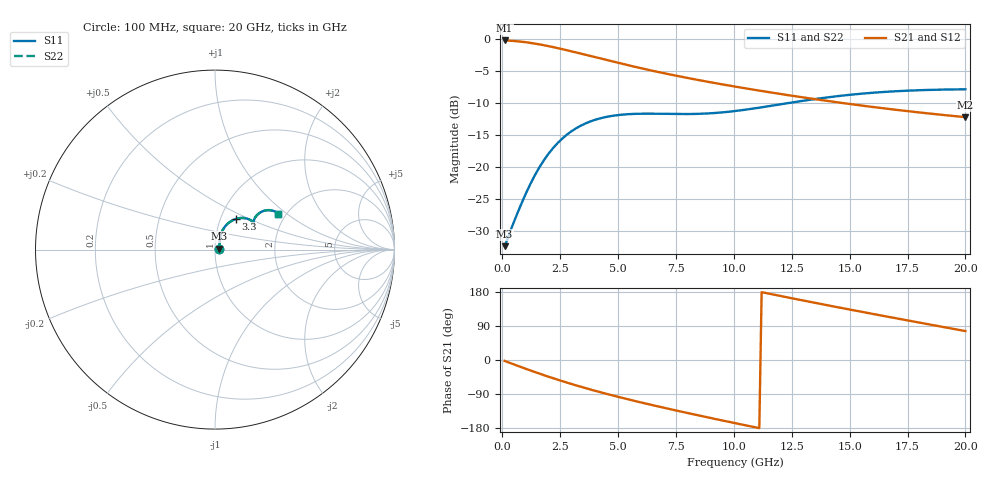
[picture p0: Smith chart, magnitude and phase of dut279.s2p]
! Touchstone file exported from HFSS 2023.1.0
!  File:  D:/Users/fzz/RDL_TSV/temp_RDL_TSV_279_1778762675.aedt
!  Generated:  8:58:04 %x4E0B%x5348  5%x6708 14, 2026
!  Design:  RDL_TSV
!  Project:  temp_RDL_TSV_279_1778762675
!  Setup:  Setup1
!  Solution:  Sweep
! Variables:
!  dtsv = 10.44um
!  hbump = 3um
!  htsv = 81.97um
!  ldown = 575.8um
!  lrdl = 609.56um
!  p = 40
!  p1 = 44.39um
!  rhole = 10um
!  subl = 4165.64um
!  t = 450um
!  tdown = 4.31um
!  trdl = 4.51um
!  viad = 10um
!  wdown = 22.05um
!  wrdl = 11.64um
!  xbump = 18um
# GHz S MA R 50.000000
! Terminal data exported
! Port[1] = TM1_1_T1
! Port[2] = TM1_4_T1
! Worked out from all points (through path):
!   200 points, 100 MHz to 20 GHz, reference 50 ohm
!   highest |S21| = -0.21 dB at 100 MHz (marker M1); lowest = -12.2 dB at 20 GHz (marker M2)
!   group delay of S21, straight-line fit = 37.5 ps
!   lowest |S11| = -32.4 dB at 100 MHz (marker M3), VSWR 1.05, Z = 52.4 + j0.632 ohm
!   |S11| at or under -10 dB: start of sweep to 12.37 GHz
!   |S22| runs from -32.4 to -7.8 dB; largest |S21 - S12| = 6.4e-15
!   S11 on the Smith chart (normalised r, x): 100 MHz: 1.05, +0.01; 3.3 GHz: 1.18, +0.42; 20 GHz: 1.82, +0.87
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0.1  0.02394 14.6  0.9765 -2.4  0.9765 -2.4  0.02394 14.6
! Gamma 0 0 0 0
! Port Impedance 50 0 50 0
0.4  0.03329 41.1  0.9703 -9.4  0.9703 -9.4  0.03328 41.1
0.8  0.05026 58.7  0.9561 -18.4  0.9561 -18.4  0.05027 58.7
1.3  0.07899 67.7  0.9297 -29.5  0.9297 -29.5  0.07908 67.8
1.7  0.106 68.9  0.9033 -38.0  0.9033 -38.0  0.1061 69.0
2.1  0.1339 67.1  0.8736 -46.2  0.8736 -46.2  0.1342 67.2
2.5  0.1608 63.9  0.8422 -54.1  0.8422 -54.1  0.1612 64.0
3.3  0.2059 55.8  0.7776 -69.0  0.7776 -69.0  0.2065 55.9
3.5  0.215 53.8  0.7617 -72.6  0.7617 -72.6  0.2155 53.8
4.3  0.2417 46.3  0.7008 -86.1  0.7008 -86.1  0.2423 46.4
5.1  0.2556 40.4  0.6458 -98.8  0.6458 -98.8  0.2563 40.4
5.9  0.2605 36.3  0.5972 -110.7  0.5972 -110.7  0.2613 36.3
6.8  0.2604 33.9  0.5498 -123.5  0.5498 -123.5  0.2611 33.8
7.6  0.2592 33.4  0.5132 -134.5  0.5132 -134.5  0.2599 33.4
8.4  0.2599 34.2  0.481 -145.2  0.481 -145.2  0.2606 34.1
10.1  0.2742 37.5  0.4237 -167.2  0.4237 -167.2  0.2748 37.4
11.8  0.3044 39.5  0.3773 171.5  0.3773 171.5  0.305 39.4
13.4  0.3375 38.9  0.3411 152.1  0.3411 152.1  0.3381 38.9
15  0.3665 36.8  0.3107 133.2  0.3107 133.2  0.3672 36.8
16.7  0.3882 33.9  0.284 113.6  0.284 113.6  0.3891 33.9
18.3  0.3998 31.4  0.2632 95.4  0.2632 95.4  0.4008 31.4
20  0.4051 29.5  0.2451 76.3  0.2451 76.3  0.4062 29.4
